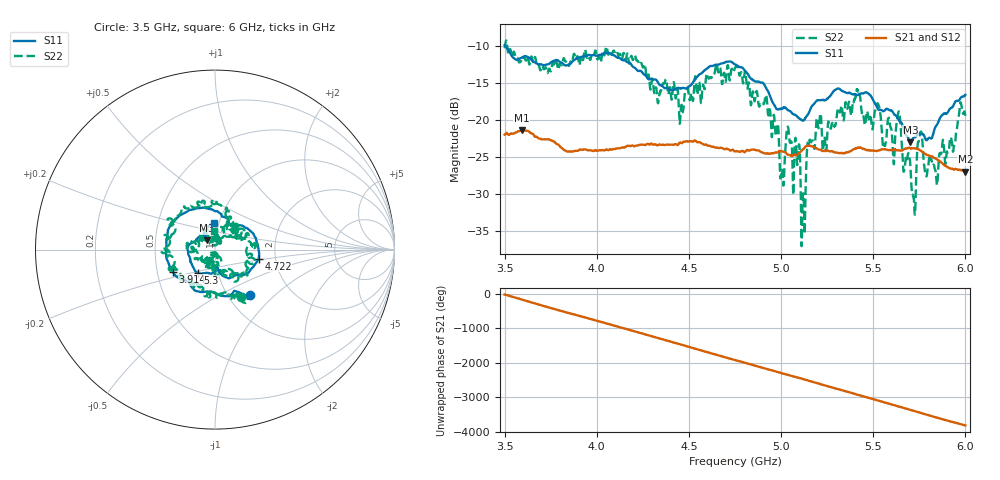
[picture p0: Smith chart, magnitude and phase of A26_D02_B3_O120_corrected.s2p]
! Created with skrf 1.9.0 (http://scikit-rf.org).
# Hz S RI R 50.0
!freq ReS11 ImS11 ReS21 ImS21 ReS12 ImS12 ReS22 ImS22
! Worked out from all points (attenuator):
!   1601 points, 3.5 GHz to 6 GHz, reference 50 ohm
!   highest |S21| = -21.43 dB at 3.592 GHz (marker M1); lowest = -27.0 dB at 6 GHz (marker M2)
!   lowest |S11| = -23.0 dB at 5.702 GHz (marker M3), VSWR 1.15, Z = 45.3 + j4.77 ohm
!   |S11| at or under -10 dB: 3.503 GHz to end of sweep
!   |S22| runs from -37.1 to -9.3 dB; largest |S21 - S12| = 0.00098
!   S11 on the Smith chart (normalised r, x): 3.5 GHz: 1.26, -0.71; 3.914 GHz: 0.60, -0.16; 4.722 GHz: 1.63, -0.17; 5.3 GHz: 0.80, -0.21; 6 GHz: 0.95, +0.28
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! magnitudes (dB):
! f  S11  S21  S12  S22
! 3.5 GHz  -9.9  -22.0  -22.0  -10.3
! 3.592 GHz  -11.6  -21.4  -21.4  -12.1
! 3.914 GHz  -11.5  -24.0  -24.0  -11.5
! 3.917 GHz  -11.5  -24.1  -24.1  -11.4
! 4.334 GHz  -15.1  -23.4  -23.3  -17.6
! 4.722 GHz  -12.1  -24.1  -24.1  -14.7
! 4.75 GHz  -12.5  -24.3  -24.2  -13.0
! 4.927 GHz  -16.0  -24.5  -24.5  -18.4
! 5.005 GHz  -18.4  -24.3  -24.3  -26.8
! 5.036 GHz  -18.7  -24.7  -24.6  -20.9
! 5.089 GHz  -19.6  -24.7  -24.6  -26.0
! 5.12 GHz  -20.1  -24.0  -23.9  -30.0
! 5.167 GHz  -18.2  -23.6  -23.6  -22.8
! 5.3 GHz  -15.8  -24.4  -24.4  -19.9
! 5.417 GHz  -16.6  -23.8  -23.8  -16.2
! 5.584 GHz  -18.7  -24.1  -24.1  -19.7
! 5.639 GHz  -20.1  -24.1  -24.1  -18.9
! 5.702 GHz  -23.0  -23.9  -23.8  -26.3
! 5.719 GHz  -22.4  -23.9  -23.8  -30.6
! 5.753 GHz  -21.9  -24.1  -24.0  -22.0
! 5.841 GHz  -20.9  -25.3  -25.2  -27.6
! 6 GHz  -16.6  -27.0  -26.9  -19.5
